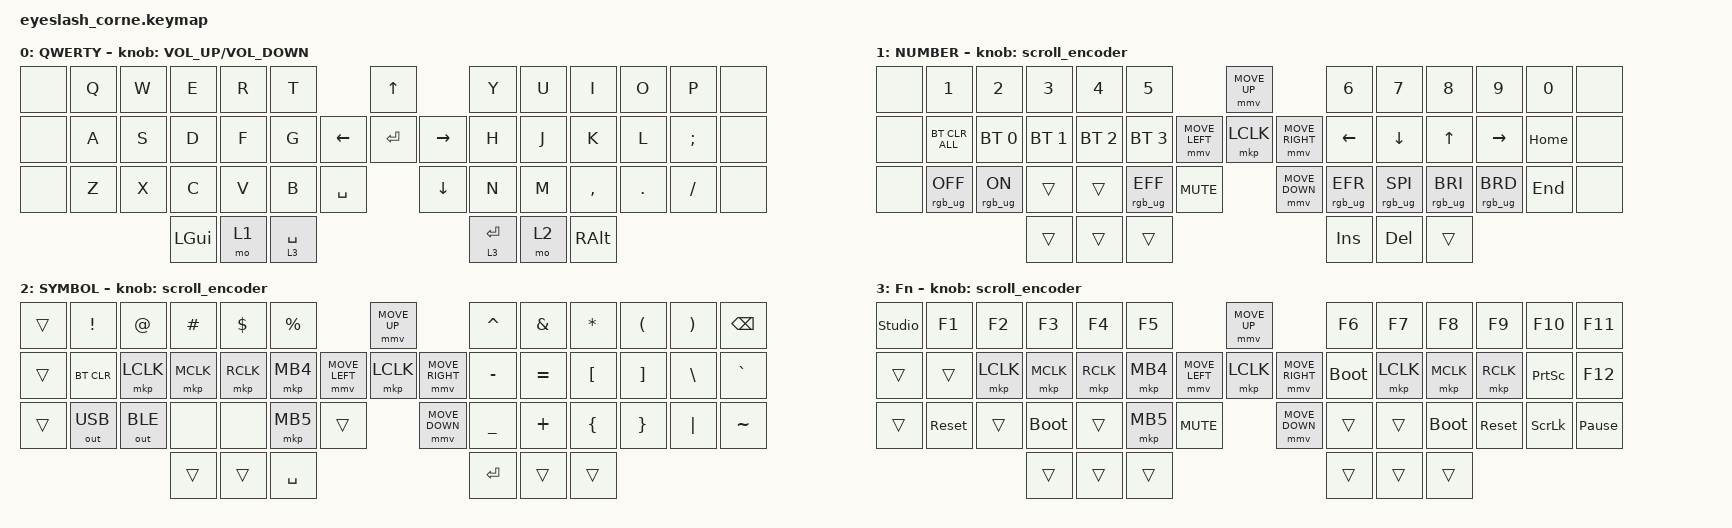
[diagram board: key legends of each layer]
#define ZMK_POINTING_DEFAULT_MOVE_VAL 1200  // 600
#define ZMK_POINTING_DEFAULT_SCRL_VAL 25   // 10

#include <input/processors.dtsi>
#include <zephyr/dt-bindings/input/input-event-codes.h>
#include <behaviors.dtsi>
#include <dt-bindings/zmk/bt.h>
#include <dt-bindings/zmk/keys.h>
#include <dt-bindings/zmk/outputs.h>
#include <dt-bindings/zmk/pointing.h>
#include <dt-bindings/zmk/rgb.h>

&mmv_input_listener { input-processors = <&zip_xy_scaler 2 1>; };

&msc_input_listener { input-processors = <&zip_scroll_scaler 2 1>; };

&msc {
    acceleration-exponent = <1>;      // 0
    time-to-max-speed-ms = <100>;       // 300
    delay-ms = <0>;                   // 0
};

&mmv {
    time-to-max-speed-ms = <500>;
    acceleration-exponent = <1>;
    trigger-period-ms = <16>;
};

/ {
    behaviors {
        td0: td0 {
            compatible = "zmk,behavior-tap-dance";
            display-name = "Shift/Caps Lock Tap Dance";
            #binding-cells = <0>;
            bindings = <&kp LEFT_SHIFT>, <&kp CAPS>;
        };
    };

    rgb_encoder: rgb_encoder {
        compatible = "zmk,behavior-sensor-rotate";
        #sensor-binding-cells = <0>;
        bindings = <&rgb_ug RGB_BRI>, <&rgb_ug RGB_BRD>;
    };

    scroll_encoder: scroll_encoder {
        compatible = "zmk,behavior-sensor-rotate";
        #sensor-binding-cells = <0>;
        bindings = <&msc SCRL_DOWN>, <&msc SCRL_UP>;

        tap-ms = <100>;
    };

    combos {
        compatible = "zmk,combos";

        qw {
            bindings = <&kp ESCAPE>;
            key-positions = <2 1>;
        };

        op {
            bindings = <&kp BACKSPACE>;
            key-positions = <10 11>;
        };

        rt1 {
            bindings = <&kp NUMBER_1>;
            key-positions = <4 5>;
        };

        df2 {
            bindings = <&kp NUMBER_2>;
            key-positions = <16 17>;
        };

        fg3 {
            bindings = <&kp NUMBER_3>;
            key-positions = <17 18>;
        };

        cv4 {
            bindings = <&kp NUMBER_4>;
            key-positions = <31 32>;
        };

        vb5 {
            bindings = <&kp N5>;
            key-positions = <32 33>;
        };

        hj6 {
            bindings = <&kp NUMBER_6>;
            key-positions = <22 23>;
        };

        jk7 {
            bindings = <&kp N7>;
            key-positions = <23 24>;
        };

        kl8 {
            bindings = <&kp N8>;
            key-positions = <24 25>;
        };

        nm9 {
            bindings = <&kp N9>;
            key-positions = <36 37>;
        };

        m,0 {
            bindings = <&kp N0>;
            key-positions = <37 38>;
        };

        down {
            bindings = <&kp DOWN>;
            key-positions = <47 40>;
        };
    };

    keymap {
        compatible = "zmk,keymap";

        default_layer {
            display-name = "QWERTY";
            bindings = <
&none  &kp Q  &kp W  &kp E     &kp R  &kp T                               &kp UP                &kp Y        &kp U  &kp I      &kp O    &kp P     &none
&none  &kp A  &kp S  &kp D     &kp F  &kp G                     &kp LEFT  &kp ENTER  &kp RIGHT  &kp H        &kp J  &kp K      &kp L    &kp SEMI  &none
&none  &kp Z  &kp X  &kp C     &kp V  &kp B        &kp SPACE              &kp DOWN              &kp N        &kp M  &kp COMMA  &kp DOT  &kp FSLH  &none
                     &kp LGUI  &mo 1  &lt 3 SPACE                                               &lt 3 ENTER  &mo 2  &kp RALT
            >;

            sensor-bindings = <&inc_dec_kp C_VOLUME_UP C_VOLUME_DOWN>;
        };

        lower_layer {
            display-name = "NUMBER";
            bindings = <
&none  &kp N1           &kp N2          &kp N3        &kp N4        &kp N5                                         &mmv MOVE_UP                     &kp N6           &kp N7           &kp N8           &kp N9           &kp N0    &none
&none  &bt BT_CLR_ALL   &bt BT_SEL 0    &bt BT_SEL 1  &bt BT_SEL 2  &bt BT_SEL 3                   &mmv MOVE_LEFT  &mkp LCLK       &mmv MOVE_RIGHT  &kp LEFT         &kp DOWN         &kp UP           &kp RIGHT        &kp HOME  &none
&none  &rgb_ug RGB_OFF  &rgb_ug RGB_ON  &trans        &trans        &rgb_ug RGB_EFF  &kp C_MUTE                    &mmv MOVE_DOWN                   &rgb_ug RGB_EFR  &rgb_ug RGB_SPI  &rgb_ug RGB_BRI  &rgb_ug RGB_BRD  &kp END   &none
                                        &trans        &trans        &trans                                                                          &kp INS          &kp DEL          &trans
            >;

            sensor-bindings = <&scroll_encoder>;
        };

        raise_layer {
            display-name = "SYMBOL";
            bindings = <
&trans  &kp EXCL      &kp AT        &kp HASH   &kp DLLR   &kp PRCNT                            &mmv MOVE_UP                     &kp CARET  &kp AMPS   &kp ASTRK  &kp LPAR  &kp RPAR  &kp BSPC
&trans  &bt BT_CLR    &mkp LCLK     &mkp MCLK  &mkp RCLK  &mkp MB4             &mmv MOVE_LEFT  &mkp LCLK       &mmv MOVE_RIGHT  &kp MINUS  &kp EQUAL  &kp LBKT   &kp RBKT  &kp BSLH  &kp GRAVE
&trans  &out OUT_USB  &out OUT_BLE  &none      &none      &mkp MB5   &trans                    &mmv MOVE_DOWN                   &kp UNDER  &kp PLUS   &kp LBRC   &kp RBRC  &kp PIPE  &kp TILDE
                                    &trans     &trans     &kp SPACE                                                             &kp RET    &trans     &trans
            >;

            sensor-bindings = <&scroll_encoder>;
        };

        layer_3 {
            display-name = "Fn";
            bindings = <
&studio_unlock  &kp F1      &kp F2     &kp F3       &kp F4     &kp F5                                  &mmv MOVE_UP                     &kp F6       &kp F7     &kp F8       &kp F9      &kp F10          &kp F11
&trans          &trans      &mkp LCLK  &mkp MCLK    &mkp RCLK  &mkp MB4                &mmv MOVE_LEFT  &mkp LCLK       &mmv MOVE_RIGHT  &bootloader  &mkp LCLK  &mkp MCLK    &mkp RCLK   &kp PRINTSCREEN  &kp F12
&trans          &sys_reset  &trans     &bootloader  &trans     &mkp MB5  &kp C_MUTE                    &mmv MOVE_DOWN                   &trans       &trans     &bootloader  &sys_reset  &kp SCROLLLOCK   &kp PAUSE_BREAK
                                       &trans       &trans     &trans                                                                   &trans       &trans     &trans
            >;

            sensor-bindings = <&scroll_encoder>;
        };
    };
};
